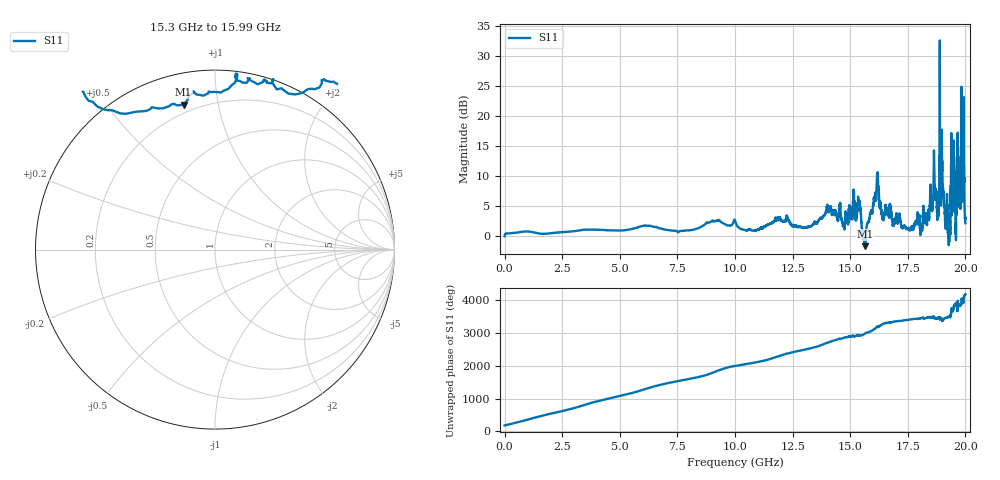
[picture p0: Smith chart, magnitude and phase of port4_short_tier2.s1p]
! Created with skrf 1.8.0 (http://scikit-rf.org).
# GHz S RI R 50.0
!freq ReS11 ImS11
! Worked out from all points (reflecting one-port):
!   10001 points, 1 MHz to 20 GHz, reference 50 ohm
!   lowest |S11| = -1.7 dB at 15.64 GHz (marker M1), VSWR 10.47, Z = 7.83 + j39.7 ohm
!   phase of S11 starts at 180 deg and turns +3995 deg over the sweep
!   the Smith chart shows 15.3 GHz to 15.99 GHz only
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0.001  -0.9999 0.000394
0.9789511  1.09 -0.1029
2.500875  -0.211 -1.058
3.464827  0.0927 1.127
5.00075  1.113 -0.0609
5.948703  -1.208 0.0927
6.79466  1.119 -0.2982
7.500625  0.0126 1.091
8.292585  -1.088 -0.3592
9.088546  1.319 0.101
10.0005  -1.314 -0.3269
11.23244  1.188 -0.1496
11.74841  -0.2228 1.41
12.50038  -0.3406 -1.158
13.30233  1.156 0.3589
14.0343  -1.612 -0.2118
15.00025  1.577 0.3396
15.64422  -0.1753 0.8069
15.9502  -1.487 -0.3831
16.13419  1.127 -1.763
16.56817  0.6906 1.483
17.50013  -1.1 0.3375
18.53007  -0.9188 -1.372
18.96605  -3.906 -1.236
19.39403  0.1938 2.742
19.59602  0.1541 -2.096
19.83001  2.453 5.315
20  -1.054 -0.7321
